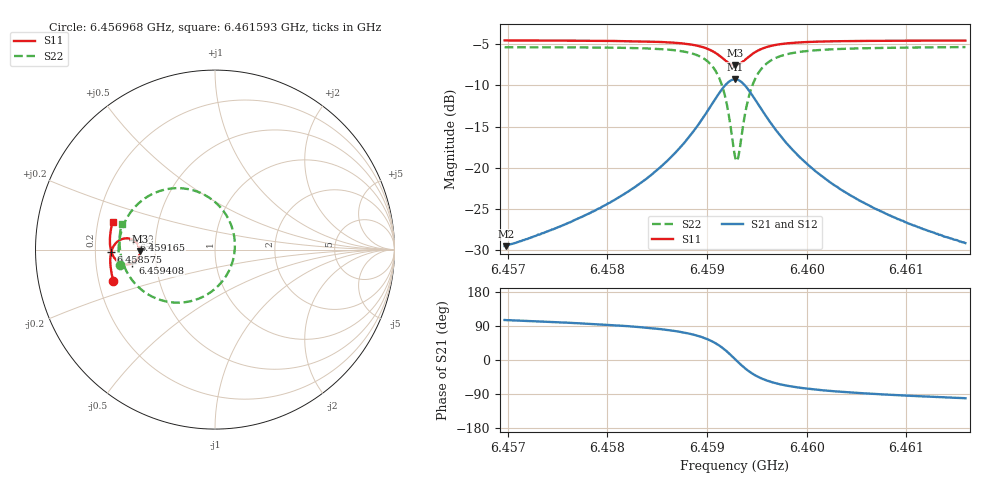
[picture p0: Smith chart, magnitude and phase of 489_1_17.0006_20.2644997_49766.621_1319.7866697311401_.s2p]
#  HZ  S  RI  R  50.00
! Rohde & Schwarz Vector Network Analyzer
! Rohde-Schwarz,ZNB20-2Port,1311601062101988,3.16
! Created: UTC 3/20/2024, 11:14:00 PM
! freq[Hz]  re:S11  im:S11  re:S21  im:S21  re:S12  im:S12  re:S22  im:S22
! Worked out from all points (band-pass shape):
!   401 points, 6.456968 GHz to 6.461593 GHz, reference 50 ohm
!   highest |S21| = -9.26 dB at 6.459281 GHz (marker M1); lowest = -29.5 dB at 6.45698 GHz (marker M2)
!   |S21| within 3 dB of the highest: 6.45905 GHz to 6.459512 GHz (462 kHz wide, 0.00715 % of centre)
!   lowest |S11| = -7.6 dB at 6.459281 GHz (marker M3), VSWR 2.44, Z = 20.5 - j0.49 ohm
!   |S11| at or under -10 dB: nowhere
!   |S22| runs from -19.1 to -5.4 dB; largest |S21 - S12| = 0.013
!   S11 on the Smith chart (normalised r, x): 6.456968 GHz: 0.26, -0.14; 6.458575 GHz: 0.27, -0.01; 6.459165 GHz: 0.37, +0.05; 6.459408 GHz: 0.37, -0.07; 6.461593 GHz: 0.26, +0.12
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6.4569681e9  -0.5665 -0.1729  -0.00899 0.0323  -0.00722 0.0322  -0.5315 -0.0857
6.4569797e9  -0.5668 -0.1719  -0.00891 0.0323  -0.00723 0.0324  -0.5318 -0.0845
6.4577428e9  -0.5806 -0.1053  -0.00581 0.05  -0.00312 0.0495  -0.5372 0.00452
6.4581707e9  -0.5837 -0.0624  0.000113 0.0695  0.00348 0.0681  -0.5293 0.0719
6.4585176e9  -0.5799 -0.0212  0.014 0.0981  0.0179 0.0954  -0.5043 0.1496
6.4585754e9  -0.5781 -0.0133  0.0184 0.105  0.0223 0.102  -0.496 0.1661
6.4587835e9  -0.5653 0.0189  0.0457 0.1373  0.0498 0.1324  -0.4447 0.2387
6.4589339e9  -0.5427 0.0452  0.0906 0.1678  0.0938 0.1611  -0.3619 0.3032
6.4590726e9  -0.4992 0.0629  0.1774 0.1845  0.1783 0.1771  -0.2034 0.3424
6.4591651e9  -0.4547 0.0527  0.2668 0.1537  0.2671 0.1478  -0.0374 0.2928
6.4592114e9  -0.4336 0.0341  0.3105 0.1109  0.3119 0.1057  0.0456 0.2169
6.4592808e9  -0.4187 -0.00987  0.3439 0.0145  0.3476 0.00755  0.1107 0.0376
6.4593155e9  -0.4227 -0.0335  0.3382 -0.0379  0.3421 -0.047  0.0995 -0.0618
6.4593617e9  -0.4382 -0.0595  0.3098 -0.0978  0.312 -0.1097  0.0421 -0.1748
6.459408e9  -0.4602 -0.0757  0.2678 -0.1387  0.267 -0.152  -0.0428 -0.2495
6.4595005e9  -0.5035 -0.0824  0.1832 -0.1698  0.1771 -0.1813  -0.2113 -0.2955
6.4596508e9  -0.5471 -0.0618  0.0957 -0.156  0.0872 -0.1621  -0.3784 -0.2461
6.4598127e9  -0.5685 -0.0342  0.051 -0.1281  0.0434 -0.1308  -0.4584 -0.1741
6.4600555e9  -0.5811 0.00155  0.0223 -0.0966  0.0163 -0.0973  -0.5061 -0.092
6.4604024e9  -0.5855 0.0426  0.0061 -0.07  0.00216 -0.0695  -0.5275 -0.0128
6.4608302e9  -0.5835 0.0855  -0.00159 -0.0515  -0.00433 -0.0507  -0.5315 0.0554
6.4615934e9  -0.5711 0.1529  -0.00668 -0.0343  -0.00819 -0.0334  -0.52 0.145
